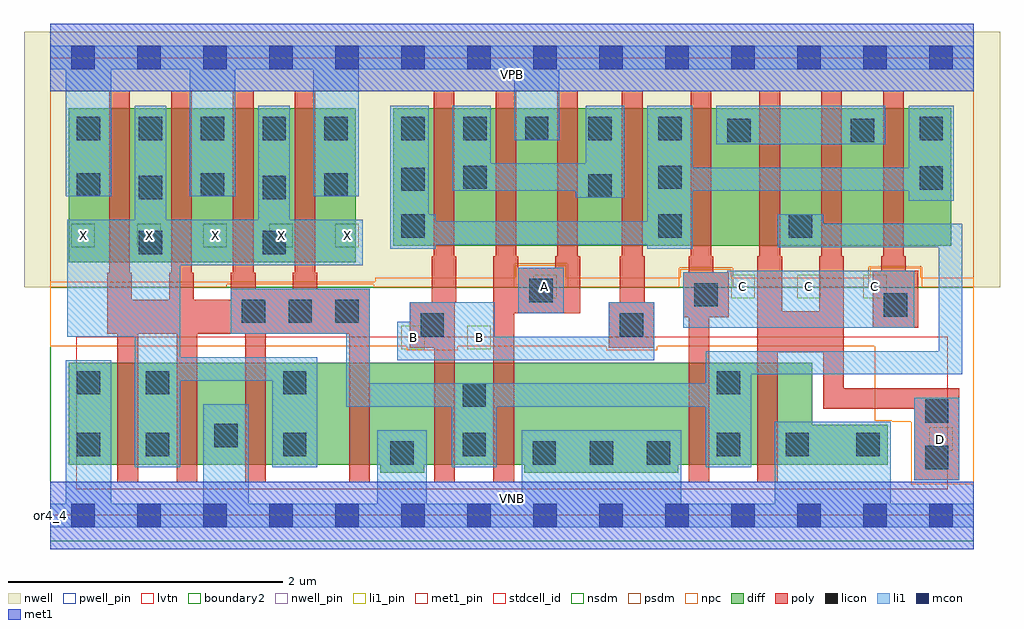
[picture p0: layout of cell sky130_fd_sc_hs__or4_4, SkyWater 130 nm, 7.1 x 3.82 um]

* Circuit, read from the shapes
.subckt sky130_fd_sc_hs__or4_4 A B C D VGND VNB VPB VPWR X
XM1 X n1 VGND VNB sky130_fd_pr__nfet_01v8_lvt w=0.74 l=0.15 m=4
XM2 n1 B VGND VNB sky130_fd_pr__nfet_01v8_lvt w=0.74 l=0.15
XM3 VGND A n1 VNB sky130_fd_pr__nfet_01v8_lvt w=0.74 l=0.15
XM4 n1 C VGND VNB sky130_fd_pr__nfet_01v8_lvt w=0.74 l=0.15
XM5 VGND D n1 VNB sky130_fd_pr__nfet_01v8_lvt w=0.74 l=0.15
XM6 X n1 VPWR VPB sky130_fd_pr__pfet_01v8 w=1.12 l=0.15 m=4
XM7 n2 B n3 VPB sky130_fd_pr__pfet_01v8 w=1 l=0.15 m=2
XM8 VPWR A n2 VPB sky130_fd_pr__pfet_01v8 w=1 l=0.15 m=2
XM9 n4 C n3 VPB sky130_fd_pr__pfet_01v8 w=1 l=0.15 m=2
XM10 n1 D n4 VPB sky130_fd_pr__pfet_01v8 w=1 l=0.15 m=2
.ends

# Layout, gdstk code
import gdstk
lib = gdstk.Library(unit=1e-6, precision=1e-09)
def R(c, l, rs):  # rectangles x0, y0, x1, y1
    for r in rs: c.add(gdstk.rectangle(r[:2], r[2:], *l))
def A(c, l, x, y, w, h, nx, ny, dx, dy):  # array of equal rectangles
    R(c, l, [(x+i*dx, y+j*dy, x+i*dx+w, y+j*dy+h) for i in range(nx) for j in range(ny)])
def P(c, l, *ps):  # polygons
    for p in ps: c.add(gdstk.Polygon(p, *l))
nwell_pin = (64, 16)
nwell = (64, 20)
diff = (65, 20)
poly = (66, 20)
licon = (66, 44)
li1_pin = (67, 16)
li1 = (67, 20)
mcon = (67, 44)
met1_pin = (68, 16)
met1 = (68, 20)
stdcell_id = (81, 4)
nsdm = (93, 44)
psdm = (94, 20)
npc = (95, 20)
pwell_pin = (122, 16)
lvtn = (125, 44)
boundary2 = (236, 0)

sky130_fd_sc_hs__or4_4 = lib.new_cell('sky130_fd_sc_hs__or4_4')
R(sky130_fd_sc_hs__or4_4, nwell_pin, [(0,3.085,6.72,3.33)])
R(sky130_fd_sc_hs__or4_4, nwell, [(-0.19,1.66,6.91,3.52)])
R(sky130_fd_sc_hs__or4_4, diff, [(0.135,1.84,2.225,2.96), (2.495,1.96,6.555,2.96)])
P(sky130_fd_sc_hs__or4_4, diff, [(6.095,0.66),(5.545,0.66),(5.545,1.11),(0.135,1.11),(0.135,0.37),(2.4,0.37),(2.4,0.31),(2.72,0.31),(2.72,0.37),(3.45,0.37),(3.45,0.31),(4.57,0.31),(4.57,0.37),(6.095,0.37)])
P(sky130_fd_sc_hs__or4_4, poly, [(6.615,0.925),(5.775,0.925),(5.775,1.885),(5.76,1.885),(5.76,3.09),(5.61,3.09),(5.61,1.885),(5.595,1.885),(5.595,1.485),(5.325,1.485),(5.325,1.885),(5.31,1.885),(5.31,3.09),(5.16,3.09),(5.16,1.885),(5.145,1.885),(5.145,0.24),(5.295,0.24),(5.295,1.185),(5.625,1.185),(5.625,0.775),(6.285,0.775),(6.285,0.255),(6.615,0.255)],
  [(6.315,1.78),(6.225,1.78),(6.225,1.885),(6.21,1.885),(6.21,3.09),(6.06,3.09),(6.06,1.885),(6.045,1.885),(6.045,1.78),(5.985,1.78),(5.985,1.365),(6.315,1.365)],
  [(4.935,1.77),(4.825,1.77),(4.825,1.885),(4.81,1.885),(4.81,3.09),(4.66,3.09),(4.66,1.885),(4.645,1.885),(4.645,1.77),(4.605,1.77),(4.605,1.44),(4.645,1.44),(4.645,0.24),(4.795,0.24),(4.795,1.44),(4.935,1.44)],
  [(4.395,1.55),(4.325,1.55),(4.325,1.885),(4.31,1.885),(4.31,3.09),(4.16,3.09),(4.16,1.885),(4.145,1.885),(4.145,1.55),(4.065,1.55),(4.065,1.22),(4.395,1.22)],
  [(3.855,1.885),(3.84,1.885),(3.84,3.09),(3.69,3.09),(3.69,1.885),(3.675,1.885),(3.675,1.8),(3.405,1.8),(3.405,1.885),(3.39,1.885),(3.39,3.09),(3.24,3.09),(3.24,1.885),(3.225,1.885),(3.225,0.24),(3.375,0.24),(3.375,1.47),(3.855,1.47)],
  [(2.955,1.885),(2.94,1.885),(2.94,3.09),(2.79,3.09),(2.79,1.885),(2.775,1.885),(2.775,1.55),(2.615,1.55),(2.615,1.22),(2.795,1.22),(2.795,0.24),(2.945,0.24),(2.945,1.55),(2.955,1.55)],
  [(2.325,1.65),(1.945,1.65),(1.945,1.765),(1.93,1.765),(1.93,3.09),(1.78,3.09),(1.78,1.765),(1.765,1.765),(1.765,1.65),(1.495,1.65),(1.495,1.765),(1.48,1.765),(1.48,3.09),(1.33,3.09),(1.33,1.765),(1.315,1.765),(1.315,1.57),(1.045,1.57),(1.045,1.765),(1.03,1.765),(1.03,3.09),(0.88,3.09),(0.88,1.765),(0.865,1.765),(0.865,1.57),(0.595,1.57),(0.595,1.765),(0.58,1.765),(0.58,3.09),(0.43,3.09),(0.43,1.765),(0.415,1.765),(0.415,1.32),(0.49,1.32),(0.49,0.24),(0.64,0.24),(0.64,1.32),(0.92,1.32),(0.92,0.24),(1.07,0.24),(1.07,1.32),(1.42,1.32),(1.42,0.24),(1.57,0.24),(1.57,1.32),(2.175,1.32),(2.175,0.24),(2.325,0.24)])
A(sky130_fd_sc_hs__or4_4, licon, 3.51, 0.37, 0.17, 0.17, 3, 1, 0.415, 0)
A(sky130_fd_sc_hs__or4_4, licon, 1.395, 1.4, 0.17, 0.17, 3, 1, 0.34, 0)
A(sky130_fd_sc_hs__or4_4, licon, 4.425, 2.02, 0.17, 0.17, 1, 3, 0, 0.355)
A(sky130_fd_sc_hs__or4_4, licon, 0.195, 2.32, 0.17, 0.17, 3, 1, 0.9, 0)
A(sky130_fd_sc_hs__or4_4, licon, 0.195, 2.73, 0.17, 0.17, 5, 1, 0.45, 0)
A(sky130_fd_sc_hs__or4_4, licon, 2.555, 2.73, 0.17, 0.17, 3, 1, 0.45, 0)
R(sky130_fd_sc_hs__or4_4, licon, [(6.365,0.335,6.535,0.505), (2.475,0.37,2.645,0.54), (0.195,0.43,0.365,0.6), (0.695,0.43,0.865,0.6), (1.695,0.43,1.865,0.6), (3,0.43,3.17,0.6), (4.85,0.43,5.02,0.6), (5.35,0.43,5.52,0.6), (5.865,0.43,6.035,0.6), (1.195,0.495,1.365,0.665), (6.365,0.675,6.535,0.845), (3,0.79,3.17,0.96), (0.195,0.88,0.365,1.05), (0.695,0.88,0.865,1.05), (1.695,0.88,1.865,1.05), (4.85,0.88,5.02,1.05), (2.695,1.3,2.865,1.47), (4.145,1.3,4.315,1.47), (6.065,1.445,6.235,1.615), (4.685,1.52,4.855,1.69), (3.485,1.55,3.655,1.72), (0.645,1.9,0.815,2.07), (1.545,1.9,1.715,2.07), (2.555,2.02,2.725,2.19), (5.375,2.02,5.545,2.19), (0.645,2.3,0.815,2.47), (1.545,2.3,1.715,2.47), (3.915,2.31,4.085,2.48), (2.555,2.36,2.725,2.53), (6.325,2.37,6.495,2.54), (3.005,2.375,3.175,2.545), (4.925,2.715,5.095,2.885), (5.825,2.715,5.995,2.885), (3.915,2.73,4.085,2.9), (6.325,2.73,6.495,2.9)])
A(sky130_fd_sc_hs__or4_4, li1_pin, 4.955, 1.58, 0.17, 0.17, 3, 1, 0.48, 0)
A(sky130_fd_sc_hs__or4_4, li1_pin, 0.155, 1.95, 0.17, 0.17, 5, 1, 0.48, 0)
R(sky130_fd_sc_hs__or4_4, li1_pin, [(6.395,0.47,6.565,0.64), (2.555,1.21,2.725,1.38), (3.035,1.21,3.205,1.38), (3.515,1.58,3.685,1.75)])
R(sky130_fd_sc_hs__or4_4, li1, [(6.285,0.255,6.615,0.855), (3.405,1.47,3.735,1.8), (4.845,2.7,6.075,2.98)])
P(sky130_fd_sc_hs__or4_4, li1, [(2.275,2.15),(1.745,2.15),(1.745,2.98),(1.515,2.98),(1.515,2.15),(0.845,2.15),(0.845,2.98),(0.615,2.98),(0.615,2.15),(0.125,2.15),(0.125,1.3),(0.615,1.3),(0.615,0.35),(0.945,0.35),(0.945,0.98),(1.615,0.98),(1.615,0.35),(1.945,0.35),(1.945,1.15),(0.945,1.15),(0.945,1.82),(2.275,1.82)],
  [(4.175,2.98),(3.895,2.98),(3.895,2.56),(3.205,2.56),(3.205,2.98),(2.925,2.98),(2.925,2.36),(3.825,2.36),(3.825,2.31),(4.175,2.31)],
  [(4.395,1.55),(4.065,1.55),(4.065,1.3),(3.235,1.3),(3.235,1.55),(2.615,1.55),(2.615,1.41),(2.525,1.41),(2.525,1.13),(4.395,1.13)],
  [(6.285,1.78),(4.925,1.78),(4.925,1.77),(4.605,1.77),(4.605,1.365),(6.285,1.365)],
  [(6.575,2.98),(6.245,2.98),(6.245,2.53),(4.675,2.53),(4.675,2.98),(4.345,2.98),(4.345,2.14),(2.805,2.14),(2.805,2.19),(2.755,2.19),(2.755,2.98),(2.475,2.98),(2.475,1.94),(2.805,1.94),(2.805,1.97),(4.345,1.97),(4.345,1.94),(4.675,1.94),(4.675,2.36),(6.245,2.36),(6.245,2.29),(6.575,2.29)],
  [(6.635,2.12),(5.625,2.12),(5.625,2.19),(5.295,2.19),(5.295,1.95),(6.465,1.95),(6.465,1.195),(4.77,1.195),(4.77,0.96),(2.325,0.96),(2.325,1.65),(1.315,1.65),(1.315,1.32),(2.155,1.32),(2.155,0.79),(2.92,0.79),(2.92,0.35),(3.25,0.35),(3.25,0.79),(4.77,0.79),(4.77,0.35),(5.1,0.35),(5.1,1.025),(6.635,1.025)],
  [(6.72,3.415),(0,3.415),(0,3.245),(0.115,3.245),(0.115,2.32),(0.445,2.32),(0.445,3.245),(1.015,3.245),(1.015,2.32),(1.345,2.32),(1.345,3.245),(1.915,3.245),(1.915,2.32),(2.245,2.32),(2.245,3.245),(3.375,3.245),(3.375,2.73),(3.705,2.73),(3.705,3.245),(6.72,3.245)],
  [(6.72,0.085),(6.115,0.085),(6.115,0.68),(5.27,0.68),(5.27,0.085),(4.59,0.085),(4.59,0.62),(3.43,0.62),(3.43,0.085),(2.74,0.085),(2.74,0.62),(2.38,0.62),(2.38,0.085),(1.445,0.085),(1.445,0.81),(1.115,0.81),(1.115,0.085),(0.445,0.085),(0.445,1.13),(0.115,1.13),(0.115,0.085),(0,0.085),(0,-0.085),(6.72,-0.085)])
A(sky130_fd_sc_hs__or4_4, mcon, 0.155, -0.085, 0.17, 0.17, 14, 2, 0.48, 3.33)
R(sky130_fd_sc_hs__or4_4, met1_pin, [(0,0,6.72,0.245), (0,3.085,6.72,3.33)])
R(sky130_fd_sc_hs__or4_4, met1, [(0,-0.245,6.72,0.245), (0,3.085,6.72,3.575)])
R(sky130_fd_sc_hs__or4_4, stdcell_id, [(0,0,6.72,3.33)])
R(sky130_fd_sc_hs__or4_4, nsdm, [(0,-0.19,6.72,1.66)])
P(sky130_fd_sc_hs__or4_4, psdm, [(6.72,3.52),(0,3.52),(0,1.66),(1.285,1.66),(1.285,1.68),(2.355,1.68),(2.355,1.66),(3.375,1.66),(3.375,1.83),(3.765,1.83),(3.765,1.66),(4.575,1.66),(4.575,1.8),(4.965,1.8),(4.965,1.66),(5.955,1.66),(5.955,1.81),(6.34,1.81),(6.34,1.66),(6.72,1.66)])
P(sky130_fd_sc_hs__or4_4, npc, [(6.72,1.73),(6.335,1.73),(6.335,1.8),(5.965,1.8),(5.965,1.73),(4.955,1.73),(4.955,1.79),(4.585,1.79),(4.585,1.73),(3.755,1.73),(3.755,1.82),(3.385,1.82),(3.385,1.73),(2.365,1.73),(2.365,1.7),(0,1.7),(0,1.23),(2.595,1.23),(2.595,1.2),(2.965,1.2),(2.965,1.23),(4.045,1.23),(4.045,1.2),(4.415,1.2),(4.415,1.23),(6,1.23),(6,0.69),(6.125,0.69),(6.125,0.68),(6.265,0.68),(6.265,0.225),(6.72,0.225)])
R(sky130_fd_sc_hs__or4_4, pwell_pin, [(0,0,6.72,0.245)])
R(sky130_fd_sc_hs__or4_4, lvtn, [(0.19,0.19,6.53,1.3)])
R(sky130_fd_sc_hs__or4_4, boundary2, [(0,0,6.72,3.33)])
sky130_fd_sc_hs__or4_4.add(gdstk.Label('or4_4', (0,0), layer=83, texttype=44))
sky130_fd_sc_hs__or4_4.add(gdstk.Label('VNB', (3.36,0.123), layer=64, texttype=59))
sky130_fd_sc_hs__or4_4.add(gdstk.Label('VPB', (3.36,3.208), layer=64, texttype=5))
sky130_fd_sc_hs__or4_4.add(gdstk.Label('VPWR', (3.36,3.208), layer=68, texttype=5))
sky130_fd_sc_hs__or4_4.add(gdstk.Label('VGND', (3.36,0.123), layer=68, texttype=5))
sky130_fd_sc_hs__or4_4.add(gdstk.Label('X', (0.24,2.035), layer=67, texttype=5))
sky130_fd_sc_hs__or4_4.add(gdstk.Label('X', (0.72,2.035), layer=67, texttype=5))
sky130_fd_sc_hs__or4_4.add(gdstk.Label('X', (1.2,2.035), layer=67, texttype=5))
sky130_fd_sc_hs__or4_4.add(gdstk.Label('X', (1.68,2.035), layer=67, texttype=5))
sky130_fd_sc_hs__or4_4.add(gdstk.Label('X', (2.16,2.035), layer=67, texttype=5))
sky130_fd_sc_hs__or4_4.add(gdstk.Label('D', (6.48,0.555), layer=67, texttype=5))
sky130_fd_sc_hs__or4_4.add(gdstk.Label('C', (5.04,1.665), layer=67, texttype=5))
sky130_fd_sc_hs__or4_4.add(gdstk.Label('C', (5.52,1.665), layer=67, texttype=5))
sky130_fd_sc_hs__or4_4.add(gdstk.Label('C', (6,1.665), layer=67, texttype=5))
sky130_fd_sc_hs__or4_4.add(gdstk.Label('B', (2.64,1.295), layer=67, texttype=5))
sky130_fd_sc_hs__or4_4.add(gdstk.Label('B', (3.12,1.295), layer=67, texttype=5))
sky130_fd_sc_hs__or4_4.add(gdstk.Label('A', (3.6,1.665), layer=67, texttype=5))

lib.write_gds('sky130_fd_sc_hs__or4_4.gds')
